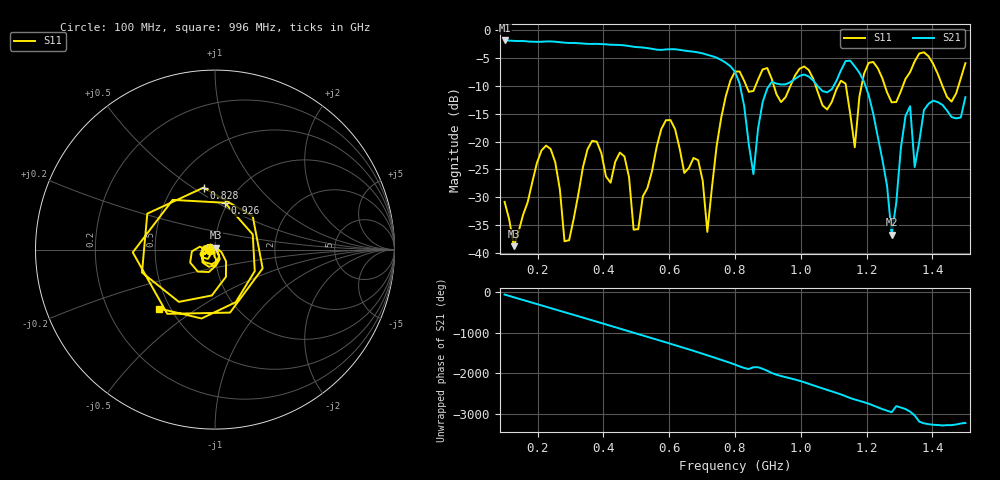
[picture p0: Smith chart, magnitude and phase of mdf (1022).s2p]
! NanoVNA-App
! Date: 2025-09-25 15:46:22
! Start: 100MHz Stop: 1,5GHz Points: 101
! S-Parameter data: F S11 S21 S12 S22
# Hz S RI R 50
!  Frequency  S11_Real  S11_Imag  S21_Real  S21_Imag  S12_Real  S12_Imag  S22_Real  S22_Imag
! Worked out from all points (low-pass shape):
!   101 points, 100 MHz to 1.5 GHz, reference 50 ohm
!   highest |S21| = -1.80 dB at 100 MHz (marker M1); lowest = -36.7 dB at 1.276 GHz (marker M2)
!   |S21| within 3 dB of the highest: start of sweep to 739.3 MHz
!   lowest |S11| = -38.8 dB at 128 MHz (marker M3), VSWR 1.02, Z = 50.4 + j1.09 ohm
!   |S11| at or under -10 dB: start of sweep to 781.1 MHz; 918.3 MHz to 968.3 MHz (49.96 MHz wide, 5.3 % of centre); 1.045 GHz to 1.114 GHz (68.21 MHz wide, 6.32 % of centre) (the widest 3 of 7)
!   S12 and S22 are empty: the file has one direction only
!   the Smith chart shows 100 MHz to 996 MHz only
!   S11 on the Smith chart (normalised r, x): 100 MHz: 0.94, -0.01; 828 MHz: 0.70, +0.55; 926 MHz: 0.97, +0.54; 996 MHz: 0.44, -0.36
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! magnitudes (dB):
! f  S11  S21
! 100 MHz  -30.8  -1.8
! 128 MHz  -38.8  -1.9
! 212 MHz  -21.6  -2.0
! 282 MHz  -37.9  -2.2
! 338 MHz  -24.6  -2.4
! 464 MHz  -22.7  -2.7
! 506 MHz  -35.8  -3.0
! 576 MHz  -17.8  -3.5
! 688 MHz  -23.3  -4.0
! 716 MHz  -36.2  -4.4
! 800 MHz  -7.4  -7.4
! 828 MHz  -9.1  -13.6
! 856 MHz  -10.9  -25.9
! 926 MHz  -11.5  -9.6
! 996 MHz  -6.9  -8.2
! 1.038 GHz  -8.7  -9.0
! 1.164 GHz  -21.0  -6.5
! 1.192 GHz  -7.8  -9.3
! 1.276 GHz  -12.9  -36.7
! 1.332 GHz  -7.5  -13.6
! 1.346 GHz  -5.6  -24.6
! 1.5 GHz  -5.9  -12.0
